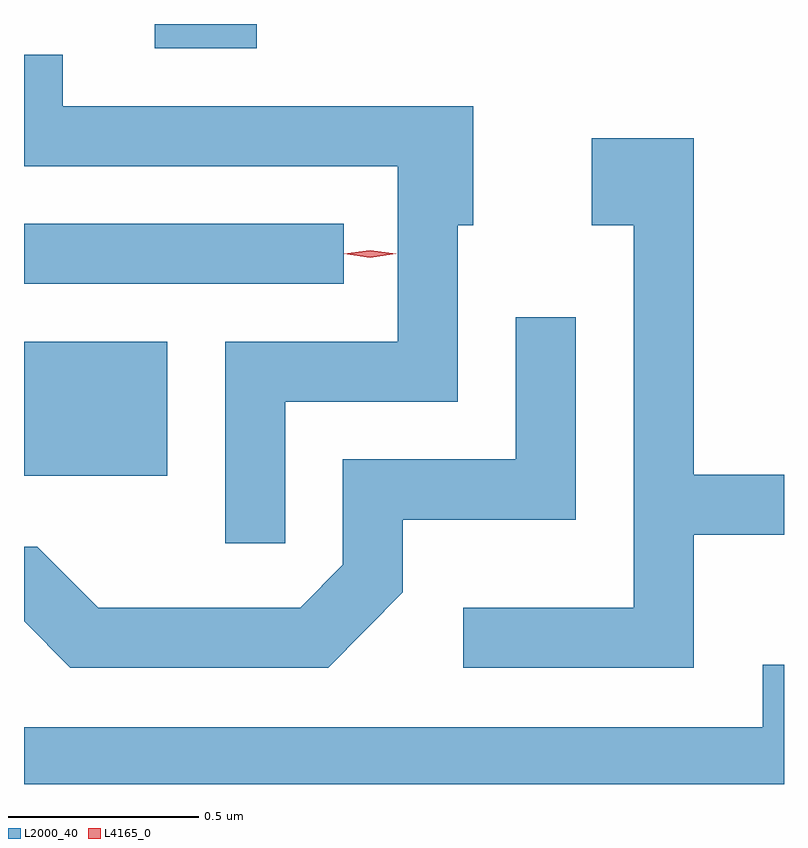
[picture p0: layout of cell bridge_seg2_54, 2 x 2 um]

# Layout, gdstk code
import gdstk
lib = gdstk.Library(unit=1e-6, precision=1e-09)
def R(c, l, rs):  # rectangles x0, y0, x1, y1
    for r in rs: c.add(gdstk.rectangle(r[:2], r[2:], *l))
def P(c, l, *ps):  # polygons
    for p in ps: c.add(gdstk.Polygon(p, *l))
L2000_40 = (2000, 40)
L4165_0 = (4165, 0)

bridge_seg2_54 = lib.new_cell('bridge_seg2_54')
R(bridge_seg2_54, L2000_40, [(1451.287,1067.006,1451.664,1067.359), (1451.287,1067.511,1452.128,1067.669), (1451.631,1068.131,1451.899,1068.195)])
P(bridge_seg2_54, L2000_40, [(1451.974,1067.201),(1452.429,1067.201),(1452.429,1067.666),(1452.469,1067.666),(1452.469,1067.979),(1451.389,1067.979),(1451.389,1068.114),(1451.287,1068.114),(1451.287,1067.821),(1452.271,1067.821),(1452.271,1067.359),(1451.816,1067.359),(1451.816,1066.828),(1451.974,1066.828)],
  [(1453.049,1066.851),(1453.287,1066.851),(1453.287,1067.009),(1453.049,1067.009),(1453.049,1067.894),(1452.781,1067.894),(1452.781,1067.666),(1452.891,1067.666),(1452.891,1066.659),(1452.443,1066.659),(1452.443,1066.501),(1453.049,1066.501)],
  [(1452.284,1066.699),(1452.284,1066.891),(1452.739,1066.891),(1452.739,1067.423),(1452.581,1067.423),(1452.581,1067.049),(1452.126,1067.049),(1452.126,1066.772),(1452.014,1066.659),(1451.482,1066.659),(1451.322,1066.819),(1451.287,1066.819),(1451.287,1066.623),(1451.409,1066.501),(1452.087,1066.501)],
  [(1453.287,1066.509),(1453.231,1066.509),(1453.231,1066.344),(1451.287,1066.344),(1451.287,1066.195),(1453.287,1066.195)])
P(bridge_seg2_54, L4165_0, [(1452.198,1067.58),(1452.129,1067.59),(1452.128,1067.59),(1452.129,1067.59),(1452.198,1067.6),(1452.267,1067.59),(1452.267,1067.59),(1452.267,1067.59)],
  [(1452.198,1067.58),(1452.132,1067.59),(1452.132,1067.59),(1452.132,1067.59),(1452.198,1067.6),(1452.264,1067.59),(1452.265,1067.59),(1452.264,1067.59)])

lib.write_gds('bridge_seg2_54.gds')
